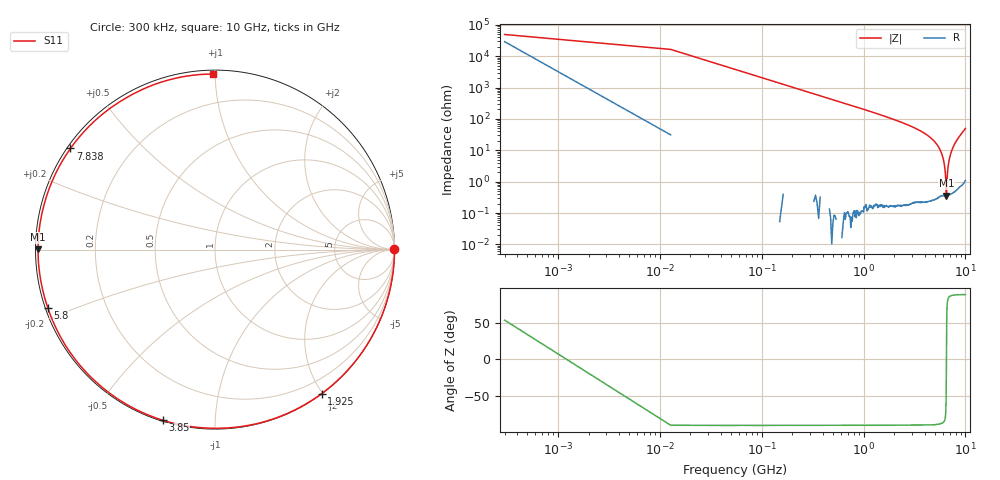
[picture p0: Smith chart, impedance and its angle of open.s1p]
!Agilent Technologies,N5230A,MY45001695,A.07.50.67
!Agilent N5230A: A.07.50.67
!Date: Thursday, August 18, 2016 06:59:13
!Correction: S11(Full 1 Port(1))
!S1P File: Measurement: S11:
# Hz S  dB  R 50
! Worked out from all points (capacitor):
!   801 points, 300 kHz to 10 GHz, reference 50 ohm
!   read as one part to ground: C = 768 fF near 50.3 MHz
!   lowest |Z| = 354 mohm at 6.513 GHz (marker M1)
!   series resonance near 6.51 GHz, so ESL is about 780 pH
!   S11 on the Smith chart (normalised r, x): 300 kHz: open; 1.925 GHz: 0.00, -1.99; 3.85 GHz: 0.00, -0.74; 5.8 GHz: 0.01, -0.17; 7.838 GHz: 0.01, +0.32; 10 GHz: 0.02, +0.99
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300000  -0.01 0.1
3.00291e8  0.00 -8.3
6.127816e8  -0.00 -17.0
9.252722e8  -0.00 -25.6
1.250262e9  -0.00 -34.7
1.575253e9  -0.01 -43.7
1.925242e9  -0.01 -53.4
2.212734e9  -0.02 -61.4
2.500225e9  -0.02 -69.4
2.812716e9  -0.03 -78.2
3.125206e9  -0.04 -86.9
3.437697e9  -0.04 -95.6
3.750188e9  -0.05 -104.3
3.850184e9  -0.05 -107.1
4.400168e9  -0.06 -122.4
5.00015e9  -0.08 -139.0
5.400138e9  -0.10 -150.1
5.800126e9  -0.12 -160.9
6.250112e9  -0.12 -173.0
6.512605e9  -0.12 179.9
6.98759e9  -0.13 167.3
7.500075e9  -0.14 153.8
7.837565e9  -0.15 145.0
8.312551e9  -0.16 132.8
8.750038e9  -0.18 121.7
9.375019e9  -0.18 106.1
9.687509e9  -0.18 98.3
1e10  -0.19 90.7
